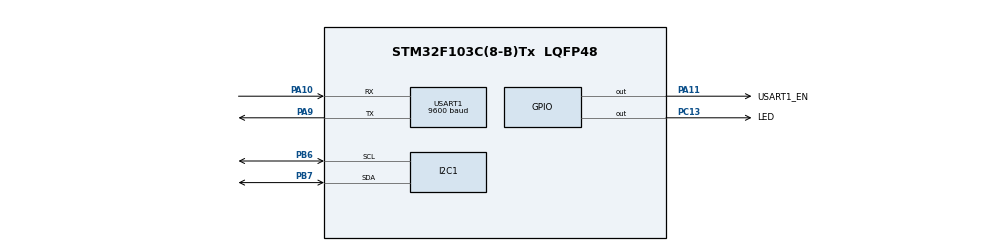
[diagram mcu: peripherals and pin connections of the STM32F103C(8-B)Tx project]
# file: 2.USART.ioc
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Mcu.Family=STM32F1
Mcu.Name=STM32F103C(8-B)Tx
Mcu.Package=LQFP48
NVIC.PriorityGroup=NVIC_PRIORITYGROUP_4
NVIC.USART1_IRQn=true\:0\:0\:false\:false\:true\:true\:true\:true
PA10.Mode=Asynchronous
PA10.Signal=USART1_RX
PA11.GPIO_Label=USART1_EN
PA11.Signal=GPIO_Output
PA13.Mode=Serial_Wire
PA13.Signal=SYS_JTMS-SWDIO
PA14.Mode=Serial_Wire
PA14.Signal=SYS_JTCK-SWCLK
PA9.Mode=Asynchronous
PA9.Signal=USART1_TX
PB6.Mode=I2C
PB6.Signal=I2C1_SCL
PB7.Mode=I2C
PB7.Signal=I2C1_SDA
PC13-TAMPER-RTC.GPIO_Label=LED
PC13-TAMPER-RTC.Signal=GPIO_Output
ProjectManager.HeapSize=0x200
ProjectManager.StackSize=0x400
ProjectManager.TargetToolchain=Makefile
RCC.APB1Freq_Value=8000000
RCC.APB2Freq_Value=8000000
USART1.BaudRate=9600
USART1.VirtualMode=VM_ASYNC
board=custom

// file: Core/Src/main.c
/* USER CODE BEGIN Header */
/**
  ******************************************************************************
  * @file           : main.c
  * @brief          : Main program body
  ******************************************************************************
  * @attention
  *
  * Copyright (c) 2022 STMicroelectronics.
  * All rights reserved.
  *
  * This software is licensed under terms that can be found in the LICENSE file
  * in the root directory of this software component.
  * If no LICENSE file comes with this software, it is provided AS-IS.
  *
  ******************************************************************************
  */
/* USER CODE END Header */
#include "main.h"

/* USER CODE BEGIN Includes */

#include "string.h"
#include "stdio.h"
#include "i2c-lcd.h"

/* USER CODE END Includes */

/* USER CODE BEGIN PM */
#define SIZETX 8
#define SIZERX 7
/* USER CODE END PM */

I2C_HandleTypeDef hi2c1;

UART_HandleTypeDef huart1;

uint8_t trama[SIZETX]= {0x01, 0x03, 0x00, 0x00, 0x00, 0x01, 0x84, 0x0A};
char bufferRX[SIZERX];
uint16_t voltaje;

void SystemClock_Config(void);
static void MX_GPIO_Init(void);
static void MX_I2C1_Init(void);
static void MX_USART1_UART_Init(void);

/* USER CODE BEGIN 0 */

int row=0;
int col=0;

/* USER CODE END 0 */

int main(void)
{

  /* MCU Configuration--------------------------------------------------------*/

  /* Reset of all peripherals, Initializes the Flash interface and the Systick. */
  HAL_Init();

  /* Configure the system clock */
  SystemClock_Config();

  /* Initialize all configured peripherals */
  MX_GPIO_Init();
  MX_I2C1_Init();
  MX_USART1_UART_Init();
  /* USER CODE BEGIN 2 */

  lcd_init ();
  lcd_send_string ("HELLO WORLD");
  HAL_Delay(1000);
  lcd_put_cur(1, 0);
  lcd_send_string("from CTECH");
  HAL_Delay(2000);
  lcd_clear ();
  lcd_put_cur(0, 0);

  //HAL_UART_Receive_IT(&huart1, (uint8_t*) bufferRX, SIZERX);
  /* USER CODE END 2 */

  /* Infinite loop */
  while (1)
  {
    HAL_GPIO_WritePin(USART1_EN_GPIO_Port, USART1_EN_Pin, 1);
    HAL_UART_Transmit(&huart1, (uint8_t*) trama, SIZETX, 1000);
    HAL_GPIO_WritePin(USART1_EN_GPIO_Port, USART1_EN_Pin, 0);
    HAL_UART_Receive(&huart1, (uint8_t*) bufferRX, SIZERX, 1000);

      //Esto muestra el valor del voltaje x10
      lcd_clear ();
      lcd_put_cur(0, 0);
      char buffer[100];
      voltaje = bufferRX[3]<<8|bufferRX[4];
      sprintf (buffer, "V: %i", voltaje);
      lcd_send_string(buffer);
      HAL_Delay(2000);

    /*
      //Esto muestra el valor en hexa de lo recibido por el MPR63
      char buffer[100];
      for (int i = 0; i < SIZERX; i++) {
      lcd_clear ();
      lcd_put_cur(0, 0);
      sprintf (buffer, "HEXA: 0x%x", bufferRX[i]);
      lcd_send_string(buffer);
      HAL_Delay(2000);
    } */

  }
}

void SystemClock_Config(void)
{
  RCC_OscInitTypeDef RCC_OscInitStruct = {0};
  RCC_ClkInitTypeDef RCC_ClkInitStruct = {0};

  /** Initializes the RCC Oscillators according to the specified parameters
  * in the RCC_OscInitTypeDef structure.
  */
  RCC_OscInitStruct.OscillatorType = RCC_OSCILLATORTYPE_HSI;
  RCC_OscInitStruct.HSIState = RCC_HSI_ON;
  RCC_OscInitStruct.HSICalibrationValue = RCC_HSICALIBRATION_DEFAULT;
  RCC_OscInitStruct.PLL.PLLState = RCC_PLL_NONE;
  if (HAL_RCC_OscConfig(&RCC_OscInitStruct) != HAL_OK)
  {
    Error_Handler();
  }

  /** Initializes the CPU, AHB and APB buses clocks
  */
  RCC_ClkInitStruct.ClockType = RCC_CLOCKTYPE_HCLK|RCC_CLOCKTYPE_SYSCLK
                              |RCC_CLOCKTYPE_PCLK1|RCC_CLOCKTYPE_PCLK2;
  RCC_ClkInitStruct.SYSCLKSource = RCC_SYSCLKSOURCE_HSI;
  RCC_ClkInitStruct.AHBCLKDivider = RCC_SYSCLK_DIV1;
  RCC_ClkInitStruct.APB1CLKDivider = RCC_HCLK_DIV1;
  RCC_ClkInitStruct.APB2CLKDivider = RCC_HCLK_DIV1;

  if (HAL_RCC_ClockConfig(&RCC_ClkInitStruct, FLASH_LATENCY_0) != HAL_OK)
  {
    Error_Handler();
  }
}

static void MX_I2C1_Init(void)
{

  hi2c1.Instance = I2C1;
  hi2c1.Init.ClockSpeed = 100000;
  hi2c1.Init.DutyCycle = I2C_DUTYCYCLE_2;
  hi2c1.Init.OwnAddress1 = 0;
  hi2c1.Init.AddressingMode = I2C_ADDRESSINGMODE_7BIT;
  hi2c1.Init.DualAddressMode = I2C_DUALADDRESS_DISABLE;
  hi2c1.Init.OwnAddress2 = 0;
  hi2c1.Init.GeneralCallMode = I2C_GENERALCALL_DISABLE;
  hi2c1.Init.NoStretchMode = I2C_NOSTRETCH_DISABLE;
  if (HAL_I2C_Init(&hi2c1) != HAL_OK)
  {
    Error_Handler();
  }

}

static void MX_USART1_UART_Init(void)
{

  huart1.Instance = USART1;
  huart1.Init.BaudRate = 9600;
  huart1.Init.WordLength = UART_WORDLENGTH_8B;
  huart1.Init.StopBits = UART_STOPBITS_1;
  huart1.Init.Parity = UART_PARITY_NONE;
  huart1.Init.Mode = UART_MODE_TX_RX;
  huart1.Init.HwFlowCtl = UART_HWCONTROL_NONE;
  huart1.Init.OverSampling = UART_OVERSAMPLING_16;
  if (HAL_UART_Init(&huart1) != HAL_OK)
  {
    Error_Handler();
  }

}

static void MX_GPIO_Init(void)
{
  GPIO_InitTypeDef GPIO_InitStruct = {0};

  /* GPIO Ports Clock Enable */
  __HAL_RCC_GPIOC_CLK_ENABLE();
  __HAL_RCC_GPIOA_CLK_ENABLE();
  __HAL_RCC_GPIOB_CLK_ENABLE();

  /*Configure GPIO pin Output Level */
  HAL_GPIO_WritePin(LED_GPIO_Port, LED_Pin, GPIO_PIN_RESET);

  /*Configure GPIO pin Output Level */
  HAL_GPIO_WritePin(USART1_EN_GPIO_Port, USART1_EN_Pin, GPIO_PIN_RESET);

  /*Configure GPIO pin : LED_Pin */
  GPIO_InitStruct.Pin = LED_Pin;
  GPIO_InitStruct.Mode = GPIO_MODE_OUTPUT_PP;
  GPIO_InitStruct.Pull = GPIO_NOPULL;
  GPIO_InitStruct.Speed = GPIO_SPEED_FREQ_LOW;
  HAL_GPIO_Init(LED_GPIO_Port, &GPIO_InitStruct);

  /*Configure GPIO pin : USART1_EN_Pin */
  GPIO_InitStruct.Pin = USART1_EN_Pin;
  GPIO_InitStruct.Mode = GPIO_MODE_OUTPUT_PP;
  GPIO_InitStruct.Pull = GPIO_NOPULL;
  GPIO_InitStruct.Speed = GPIO_SPEED_FREQ_LOW;
  HAL_GPIO_Init(USART1_EN_GPIO_Port, &GPIO_InitStruct);

}

void Error_Handler(void)
{
  __disable_irq();
  while (1)
  {
  }
}
